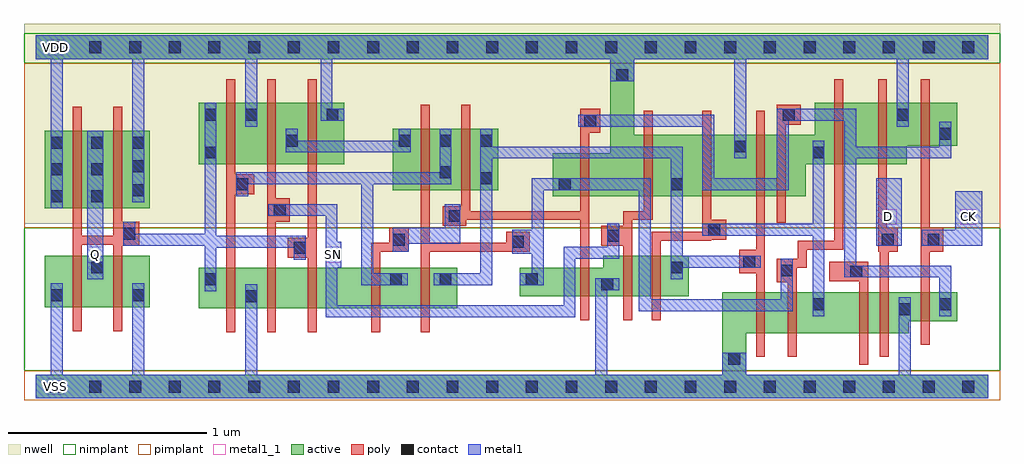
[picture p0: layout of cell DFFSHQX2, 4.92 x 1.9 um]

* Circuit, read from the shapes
.subckt DFFSHQX2 CK D Q SN VDD VSS
M1 Q n1 VSS VSS nfet w=0.26u l=0.045u m=2
M2 VSS n2 n1 VSS nfet w=0.205u l=0.045u
M3 n3 SN VSS VSS nfet w=0.205u l=0.045u
M4 n4 n1 n3 VSS nfet w=0.205u l=0.045u
M5 n2 n5 n4 VSS nfet w=0.205u l=0.045u
M6 n6 n7 n2 VSS nfet w=0.205u l=0.045u
M7 VSS n5 n7 VSS nfet w=0.145u l=0.045u
M8 n8 SN VSS VSS nfet w=0.205u l=0.045u
M9 n6 n9 n8 VSS nfet w=0.205u l=0.045u
M10 n10 n6 VSS VSS nfet w=0.205u l=0.045u
M11 n9 n7 n10 VSS nfet w=0.205u l=0.045u
M12 n11 n5 n9 VSS nfet w=0.205u l=0.045u
M13 VSS D n11 VSS nfet w=0.205u l=0.045u
M14 n5 CK VSS VSS nfet w=0.145u l=0.045u
M15 Q n1 VDD VDD pfet w=0.39u l=0.045u m=2
M16 VDD n2 n1 VDD pfet w=0.31u l=0.045u
M17 n12 SN VDD VDD pfet w=0.31u l=0.045u
M18 VDD n1 n12 VDD pfet w=0.31u l=0.045u
M19 n2 n7 n12 VDD pfet w=0.31u l=0.045u
M20 n6 n5 n2 VDD pfet w=0.31u l=0.045u
M21 VDD n5 n7 VDD pfet w=0.215u l=0.045u
M22 n6 SN VDD VDD pfet w=0.31u l=0.045u
M23 VDD n9 n6 VDD pfet w=0.31u l=0.045u
M24 n13 n6 VDD VDD pfet w=0.31u l=0.045u
M25 n9 n5 n13 VDD pfet w=0.31u l=0.045u
M26 n14 n7 n9 VDD pfet w=0.31u l=0.045u
M27 VDD D n14 VDD pfet w=0.31u l=0.045u
M28 n5 CK VDD VDD pfet w=0.215u l=0.045u
.ends

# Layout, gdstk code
import gdstk
lib = gdstk.Library(unit=1e-6, precision=5e-10)
def R(c, l, rs):  # rectangles x0, y0, x1, y1
    for r in rs: c.add(gdstk.rectangle(r[:2], r[2:], *l))
def A(c, l, x, y, w, h, nx, ny, dx, dy):  # array of equal rectangles
    R(c, l, [(x+i*dx, y+j*dy, x+i*dx+w, y+j*dy+h) for i in range(nx) for j in range(ny)])
def P(c, l, *ps):  # polygons
    for p in ps: c.add(gdstk.Polygon(p, *l))
active = (1, 0)
nwell = (2, 0)
poly = (3, 0)
nimplant = (4, 0)
pimplant = (5, 0)
contact = (6, 0)
metal1 = (7, 0)
metal1_1 = (7, 1)

dffshqx2 = lib.new_cell('DFFSHQX2')
R(dffshqx2, active, [(0.82,0.395,2.125,0.6), (0.045,0.4,0.575,0.66), (0.045,0.9,0.575,1.29), (1.8,0.99,2.33,1.3), (0.82,1.12,1.555,1.43)])
P(dffshqx2, active, [(0,1.77),(4.8,1.77),(4.8,1.65),(3.015,1.65),(3.015,1.27),(3.925,1.27),(3.925,1.43),(4.645,1.43),(4.645,1.215),(4.39,1.215),(4.39,1.12),(3.88,1.12),(3.88,0.96),(2.605,0.96),(2.605,1.175),(2.895,1.175),(2.895,1.65),(0,1.65)],
  [(2.86,0.66),(3.29,0.66),(3.29,0.455),(2.44,0.455),(2.44,0.6),(2.86,0.6)],
  [(3.46,0.475),(4.645,0.475),(4.645,0.33),(4.4,0.33),(4.4,0.27),(3.58,0.27),(3.58,0.06),(4.8,0.06),(4.8,-0.06),(0,-0.06),(0,0.06),(3.46,0.06)])
R(dffshqx2, nwell, [(-0.06,0.82,4.86,1.83)])
P(dffshqx2, poly, [(0.96,1.55),(1.005,1.55),(1.005,1.07),(1.1,1.07),(1.1,0.97),(1.005,0.97),(1.005,0.275),(0.96,0.275)],
  [(1.165,1.55),(1.21,1.55),(1.21,0.95),(1.28,0.95),(1.28,0.83),(1.21,0.83),(1.21,0.275),(1.165,0.275)],
  [(1.37,1.55),(1.415,1.55),(1.415,0.275),(1.37,0.275),(1.37,0.65),(1.27,0.65),(1.27,0.75),(1.37,0.75)],
  [(1.94,1.42),(1.985,1.42),(1.985,0.725),(2.37,0.725),(2.37,0.78),(2.49,0.78),(2.49,0.68),(1.985,0.68),(1.985,0.275),(1.94,0.275)],
  [(2.145,1.42),(2.19,1.42),(2.19,0.885),(2.745,0.885),(2.745,1.4),(2.845,1.4),(2.845,1.28),(2.79,1.28),(2.79,0.335),(2.745,0.335),(2.745,0.84),(2.17,0.84),(2.17,0.81),(2.05,0.81),(2.05,0.91),(2.145,0.91)],
  [(0.185,1.41),(0.23,1.41),(0.23,0.76),(0.39,0.76),(0.39,1.41),(0.435,1.41),(0.435,0.83),(0.52,0.83),(0.52,0.71),(0.435,0.71),(0.435,0.28),(0.39,0.28),(0.39,0.715),(0.23,0.715),(0.23,0.28),(0.185,0.28)],
  [(3.735,1.42),(3.855,1.42),(3.855,1.32),(3.78,1.32),(3.78,0.825),(3.735,0.825)],
  [(3.065,1.39),(3.11,1.39),(3.11,0.84),(3.005,0.84),(3.005,0.335),(2.96,0.335),(2.96,0.71),(2.85,0.71),(2.85,0.81),(2.96,0.81),(2.96,0.885),(3.065,0.885)],
  [(3.36,1.39),(3.405,1.39),(3.405,0.84),(3.48,0.84),(3.48,0.74),(3.405,0.74),(3.405,0.735),(3.15,0.735),(3.15,0.335),(3.105,0.335),(3.105,0.78),(3.36,0.78)],
  [(3.63,1.39),(3.675,1.39),(3.675,0.15),(3.63,0.15),(3.63,0.57),(3.545,0.57),(3.545,0.69),(3.63,0.69)],
  [(4.025,1.55),(4.07,1.55),(4.07,0.69),(3.885,0.69),(3.885,0.6),(3.835,0.6),(3.835,0.15),(3.79,0.15),(3.79,0.525),(3.735,0.525),(3.735,0.645),(3.84,0.645),(3.84,0.735),(4.025,0.735)],
  [(4.245,1.55),(4.29,1.55),(4.29,0.8),(4.345,0.8),(4.345,0.68),(4.3,0.68),(4.3,0.15),(4.255,0.15),(4.255,0.68),(4.245,0.68)],
  [(4.46,1.55),(4.505,1.55),(4.505,0.8),(4.575,0.8),(4.575,0.68),(4.505,0.68),(4.505,0.21),(4.46,0.21)],
  [(1.78,0.8),(1.88,0.8),(1.88,0.68),(1.735,0.68),(1.735,0.275),(1.69,0.275),(1.69,0.725),(1.78,0.725)],
  [(4,0.63),(4.195,0.63),(4.195,0.11),(4.15,0.11),(4.15,0.53),(4,0.53)])
R(dffshqx2, nimplant, [(-0.06,0.08,4.86,0.8), (-0.06,1.63,4.86,1.78)])
R(dffshqx2, pimplant, [(-0.06,-0.07,4.86,0.08), (-0.06,0.8,4.86,1.63)])
A(dffshqx2, contact, 0.07, -0.03, 0.06, 0.06, 24, 2, 0.2, 1.71)
A(dffshqx2, contact, 0.075, 1.2, 0.06, 0.06, 3, 1, 0.205, 0)
A(dffshqx2, contact, 1.83, 1.21, 0.06, 0.06, 3, 1, 0.205, 0)
R(dffshqx2, contact, [(3.49,0.11,3.55,0.17), (4.35,0.36,4.41,0.42), (3.915,0.385,3.975,0.445), (4.555,0.385,4.615,0.445), (1.055,0.425,1.115,0.485), (0.075,0.43,0.135,0.49), (0.485,0.43,0.545,0.49), (2.85,0.485,2.91,0.545), (0.85,0.51,0.91,0.57), (1.785,0.51,1.845,0.57), (2.035,0.51,2.095,0.57), (2.47,0.51,2.53,0.57), (4.105,0.55,4.165,0.61), (3.755,0.555,3.815,0.615), (0.28,0.57,0.34,0.63), (3.2,0.57,3.26,0.63), (3.565,0.6,3.625,0.66), (1.3,0.67,1.36,0.73), (2.4,0.7,2.46,0.76), (1.8,0.71,1.86,0.77), (4.265,0.71,4.325,0.77), (4.495,0.71,4.555,0.77), (2.88,0.73,2.94,0.79), (0.44,0.74,0.5,0.8), (3.39,0.76,3.45,0.82), (2.08,0.83,2.14,0.89), (1.2,0.86,1.26,0.92), (0.075,0.93,0.135,0.99), (0.28,0.93,0.34,0.99), (0.485,0.96,0.545,1.02), (1.01,0.99,1.07,1.05), (2.635,0.99,2.695,1.05), (3.2,0.99,3.26,1.05), (2.24,1.02,2.3,1.08), (2.035,1.05,2.095,1.11), (0.075,1.065,0.135,1.125), (0.28,1.065,0.34,1.125), (0.485,1.08,0.545,1.14), (0.85,1.15,0.91,1.21), (3.915,1.15,3.975,1.21), (3.52,1.18,3.58,1.24), (1.26,1.21,1.32,1.27), (4.555,1.245,4.615,1.305), (2.765,1.31,2.825,1.37), (0.85,1.34,0.91,1.4), (1.055,1.34,1.115,1.4), (1.465,1.34,1.525,1.4), (3.765,1.34,3.825,1.4), (4.34,1.34,4.4,1.4), (2.925,1.54,2.985,1.6)])
R(dffshqx2, metal1, [(0.26,0.54,0.34,1.29), (4.235,0.71,4.365,1.05)])
P(dffshqx2, metal1, [(0,1.77),(4.8,1.77),(4.8,1.65),(4.4,1.65),(4.4,1.31),(4.34,1.31),(4.34,1.65),(3.58,1.65),(3.58,1.15),(3.52,1.15),(3.52,1.65),(3.015,1.65),(3.015,1.54),(2.895,1.54),(2.895,1.65),(1.495,1.65),(1.495,1.4),(1.555,1.4),(1.555,1.34),(1.435,1.34),(1.435,1.65),(1.115,1.65),(1.115,1.31),(1.055,1.31),(1.055,1.65),(0.545,1.65),(0.545,0.93),(0.485,0.93),(0.485,1.65),(0.135,1.65),(0.135,0.9),(0.075,0.9),(0.075,1.65),(0,1.65)],
  [(0.44,0.83),(0.5,0.83),(0.5,0.77),(0.85,0.77),(0.85,1.43),(0.91,1.43),(0.91,0.76),(1.36,0.76),(1.36,0.64),(1.3,0.64),(1.3,0.7),(0.91,0.7),(0.91,0.48),(0.85,0.48),(0.85,0.71),(0.44,0.71)],
  [(1.26,1.3),(1.32,1.3),(1.32,1.24),(1.83,1.24),(1.83,1.3),(1.89,1.3),(1.89,1.18),(1.26,1.18)],
  [(2.035,1.3),(2.095,1.3),(2.095,1.02),(1.7,1.02),(1.7,0.57),(1.875,0.57),(1.875,0.51),(1.64,0.51),(1.64,1.02),(1.07,1.02),(1.07,0.96),(1.01,0.96),(1.01,1.08),(2.035,1.08)],
  [(2.24,1.3),(2.3,1.3),(2.3,1.21),(3.26,1.21),(3.26,0.66),(3.655,0.66),(3.655,0.6),(3.26,0.6),(3.26,0.54),(3.2,0.54),(3.2,1.15),(2.3,1.15),(2.3,0.51),(2.005,0.51),(2.005,0.57),(2.24,0.57)],
  [(2.735,1.37),(3.42,1.37),(3.42,1.05),(3.735,1.05),(3.735,1.4),(4.135,1.4),(4.135,1.21),(4.555,1.21),(4.555,1.335),(4.615,1.335),(4.615,1.15),(4.135,1.15),(4.135,0.61),(4.615,0.61),(4.615,0.355),(4.555,0.355),(4.555,0.55),(4.075,0.55),(4.075,1.34),(3.795,1.34),(3.795,0.99),(3.36,0.99),(3.36,1.31),(2.735,1.31)],
  [(1.17,0.92),(1.52,0.92),(1.52,0.73),(1.54,0.73),(1.54,0.6),(1.52,0.6),(1.52,0.41),(2.66,0.41),(2.66,0.705),(2.88,0.705),(2.88,0.82),(2.94,0.82),(2.94,0.645),(2.72,0.645),(2.72,0.35),(1.46,0.35),(1.46,0.86),(1.17,0.86)],
  [(0.075,0.52),(0.135,0.52),(0.135,0.06),(0.485,0.06),(0.485,0.52),(0.545,0.52),(0.545,0.06),(1.055,0.06),(1.055,0.515),(1.115,0.515),(1.115,0.06),(2.82,0.06),(2.82,0.545),(2.94,0.545),(2.94,0.485),(2.88,0.485),(2.88,0.06),(3.46,0.06),(3.46,0.17),(3.58,0.17),(3.58,0.06),(4.35,0.06),(4.35,0.45),(4.41,0.45),(4.41,0.06),(4.8,0.06),(4.8,-0.06),(0,-0.06),(0,0.06),(0.075,0.06)],
  [(2.06,0.92),(2.14,0.92),(2.14,0.72),(1.88,0.72),(1.88,0.68),(1.8,0.68),(1.8,0.8),(2.06,0.8)],
  [(2.5,1.05),(3.1,1.05),(3.1,0.44),(3.755,0.44),(3.755,0.645),(3.815,0.645),(3.815,0.38),(3.04,0.38),(3.04,0.99),(2.56,0.99),(2.56,0.51),(2.44,0.51),(2.44,0.57),(2.5,0.57),(2.5,0.67),(2.4,0.67),(2.4,0.79),(2.5,0.79)],
  [(3.915,1.24),(3.975,1.24),(3.975,0.355),(3.915,0.355),(3.915,0.76),(3.36,0.76),(3.36,0.82),(3.915,0.82)],
  [(4.635,0.985),(4.77,0.985),(4.77,0.71),(4.465,0.71),(4.465,0.79),(4.635,0.79)])
R(dffshqx2, metal1_1, [(0.06,-0.04,0.14,0.04), (0.26,0.625,0.34,0.705), (1.46,0.625,1.54,0.705), (4.26,0.815,4.34,0.895), (4.66,0.815,4.74,0.895), (0.06,1.67,0.14,1.75)])
dffshqx2.add(gdstk.Label('Q', (0.3,0.665), layer=7, texttype=1))
dffshqx2.add(gdstk.Label('CK', (4.7,0.855), layer=7, texttype=1))
dffshqx2.add(gdstk.Label('D', (4.3,0.855), layer=7, texttype=1))
dffshqx2.add(gdstk.Label('SN', (1.5,0.665), layer=7, texttype=1))
dffshqx2.add(gdstk.Label('VDD', (0.1,1.71), layer=7, texttype=1))
dffshqx2.add(gdstk.Label('VSS', (0.1,0), layer=7, texttype=1))
dffshqx2.add(gdstk.Label('DFFSHQX2', (0,0), layer=63, texttype=0))

lib.write_gds('DFFSHQX2.gds')
